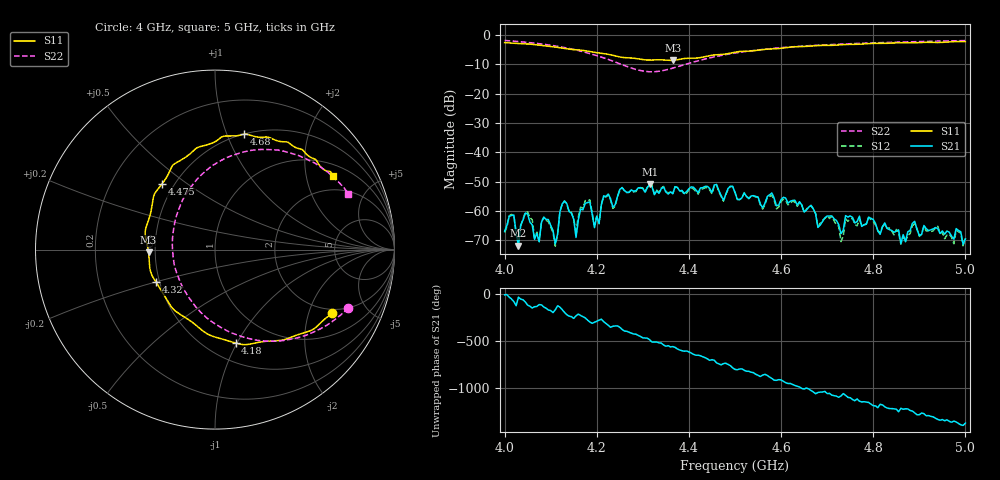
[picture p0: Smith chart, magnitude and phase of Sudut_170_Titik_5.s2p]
# Hz S RI R 50
! CMT, C1220, 16058040, 17.2.0/1
! Date: 15/08/2018 12:21:12
! Data: Format (Calibration Info)
! Freq  S11: Re/Im (F2)  S21: Re/Im (F2)  S12: Re/Im (F2)  S22: Re/Im (F2)
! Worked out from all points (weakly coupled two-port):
!   201 points, 4 GHz to 5 GHz, reference 50 ohm
!   highest |S21| = -50.82 dB at 4.315 GHz (marker M1); lowest = -71.9 dB at 4.03 GHz (marker M2)
!   lowest |S11| = -8.6 dB at 4.365 GHz (marker M3), VSWR 2.18, Z = 23 - j0.77 ohm
!   |S11| at or under -10 dB: nowhere
!   |S22| runs from -12.5 to -1.8 dB; largest |S21 - S12| = 0.00019
!   S11 on the Smith chart (normalised r, x): 4 GHz: 1.81, -2.89; 4.18 GHz: 0.68, -0.99; 4.32 GHz: 0.48, -0.20; 4.475 GHz: 0.43, +0.40; 4.68 GHz: 0.50, +1.15; 5 GHz: 1.40, +2.86
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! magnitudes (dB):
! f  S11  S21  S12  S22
! 4 GHz  -2.6  -66.9  -67.3  -1.8
! 4.02 GHz  -2.8  -61.4  -61.5  -2.1
! 4.03 GHz  -2.9  -71.9  -70.4  -2.2
! 4.045 GHz  -3.0  -60.7  -60.3  -2.4
! 4.095 GHz  -3.8  -62.9  -63.7  -3.3
! 4.11 GHz  -4.1  -71.2  -72.0  -3.7
! 4.125 GHz  -4.4  -57.6  -57.6  -4.1
! 4.155 GHz  -5.0  -69.0  -66.7  -5.1
! 4.17 GHz  -5.2  -59.6  -59.0  -5.7
! 4.18 GHz  -5.5  -57.1  -56.5  -6.1
! 4.195 GHz  -5.9  -65.7  -64.8  -6.8
! 4.215 GHz  -6.3  -54.8  -55.1  -7.8
! 4.315 GHz  -8.5  -50.8  -50.6  -12.5
! 4.32 GHz  -8.5  -51.7  -51.3  -12.5
! 4.335 GHz  -8.4  -54.0  -53.6  -12.3
! 4.365 GHz  -8.6  -54.0  -54.2  -11.3
! 4.475 GHz  -6.6  -56.4  -56.6  -6.8
! 4.5 GHz  -5.8  -53.6  -53.7  -6.1
! 4.67 GHz  -3.7  -59.2  -59.4  -3.5
! 4.68 GHz  -3.6  -65.6  -65.5  -3.4
! 4.835 GHz  -2.8  -66.4  -65.8  -2.5
! 5 GHz  -2.2  -69.5  -69.4  -1.9
